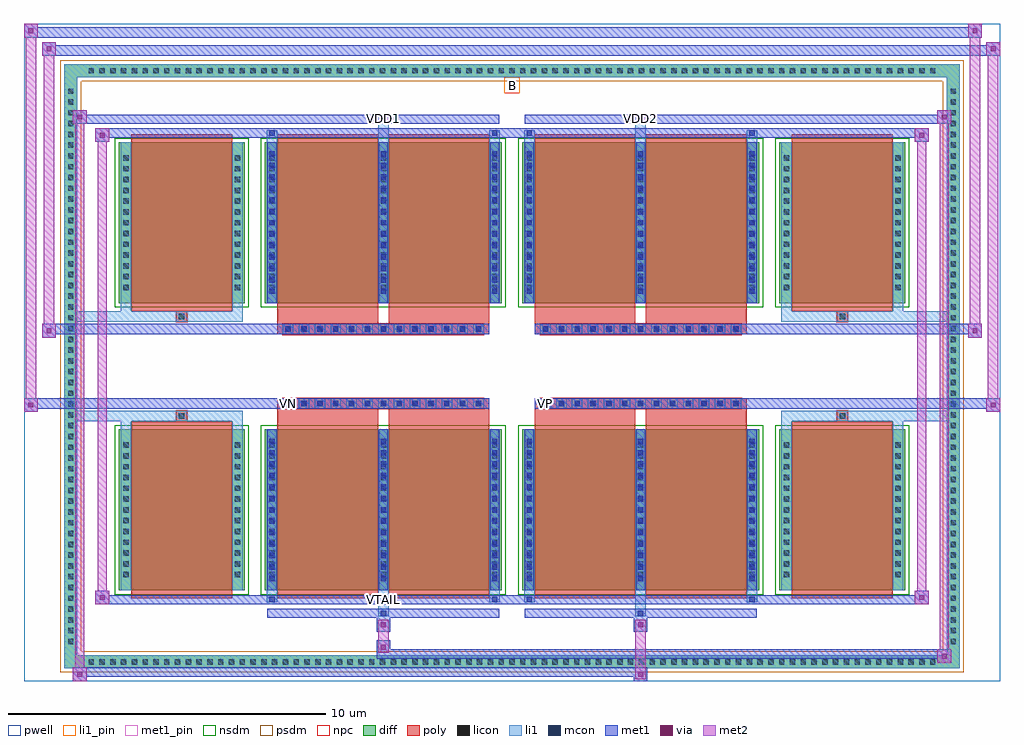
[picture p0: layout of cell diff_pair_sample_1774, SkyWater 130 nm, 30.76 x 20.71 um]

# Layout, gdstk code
import gdstk
lib = gdstk.Library(unit=1e-6, precision=5e-09)
def R(c, l, rs):  # rectangles x0, y0, x1, y1
    for r in rs: c.add(gdstk.rectangle(r[:2], r[2:], *l))
def A(c, l, x, y, w, h, nx, ny, dx, dy):  # array of equal rectangles
    R(c, l, [(x+i*dx, y+j*dy, x+i*dx+w, y+j*dy+h) for i in range(nx) for j in range(ny)])
def P(c, l, *ps):  # polygons
    for p in ps: c.add(gdstk.Polygon(p, *l))
pwell = (64, 44)
diff = (65, 20)
poly = (66, 20)
licon = (66, 44)
li1_pin = (67, 16)
li1 = (67, 20)
mcon = (67, 44)
met1_pin = (68, 16)
met1 = (68, 20)
via = (68, 44)
met2 = (69, 20)
nsdm = (93, 44)
psdm = (94, 20)
npc = (95, 20)

diff_pair_sample_1774 = lib.new_cell('diff_pair_sample_1774')
R(diff_pair_sample_1774, pwell, [(-15.38,-9.92,15.38,10.79), (-12.7,-8.11,-0.01,-0.805), (0.01,-8.11,12.7,-0.805), (-12.7,0.805,-0.01,8.11), (0.01,0.805,12.7,8.11)])
A(diff_pair_sample_1774, diff, -13.465, -9.52, 0.41, 0.41, 79, 2, 0.34, 18.63)
A(diff_pair_sample_1774, diff, -14.11, -8.875, 0.41, 0.41, 1, 52, 0, 0.34)
A(diff_pair_sample_1774, diff, 13.7, -8.875, 0.41, 0.41, 1, 52, 0, 0.34)
R(diff_pair_sample_1774, diff, [(-13.465,-9.52,13.465,-9.11), (-14.11,-8.875,-13.7,8.875), (13.7,-8.875,14.11,8.875), (-12.39,-7.065,-8.43,-1.985), (-7.79,-7.065,-0.32,-1.985), (0.32,-7.065,7.79,-1.985), (8.43,-7.065,12.39,-1.985), (-12.39,1.985,-8.43,7.065), (-7.79,1.985,-0.32,7.065), (0.32,1.985,7.79,7.065), (8.43,1.985,12.39,7.065), (-13.465,9.11,13.465,9.52)])
P(diff_pair_sample_1774, diff, [(14.11,9.52),(-14.11,9.52),(-14.11,-9.11),(-13.7,-9.11),(-13.7,9.11),(13.7,9.11),(13.7,-9.11),(-13.7,-9.11),(-14.11,-9.11),(-14.11,-9.52),(14.11,-9.52)])
A(diff_pair_sample_1774, poly, -7.22, -1.335, 0.33, 0.33, 13, 2, 0.5, 2.34)
A(diff_pair_sample_1774, poly, 0.89, -1.335, 0.33, 0.33, 13, 2, 0.5, 2.34)
R(diff_pair_sample_1774, poly, [(-12,-7.315,-8.82,-1.735), (-7.4,-7.315,-4.22,-1.735), (-3.89,-7.315,-0.71,-1.735), (0.71,-7.315,3.89,-1.735), (4.22,-7.315,7.4,-1.735), (8.82,-7.315,12,-1.735), (-10.575,-1.735,-10.245,-1.405), (-10.575,-1.735,-10.245,-1.405), (-7.4,-1.735,-4.22,-1.335), (-3.89,-1.735,-0.71,-1.335), (0.71,-1.735,3.89,-1.335), (4.22,-1.735,7.4,-1.335), (10.245,-1.735,10.575,-1.405), (10.245,-1.735,10.575,-1.405), (-7.4,-1.335,-0.71,-1.005), (0.71,-1.335,7.4,-1.005), (-7.4,1.005,-0.71,1.335), (0.71,1.005,7.4,1.335), (-7.4,1.335,-4.22,1.735), (-3.89,1.335,-0.71,1.735), (0.71,1.335,3.89,1.735), (4.22,1.335,7.4,1.735), (-10.575,1.405,-10.245,1.735), (-10.575,1.405,-10.245,1.735), (10.245,1.405,10.575,1.735), (10.245,1.405,10.575,1.735), (-12,1.735,-8.82,7.315), (-7.4,1.735,-4.22,7.315), (-3.89,1.735,-0.71,7.315), (0.71,1.735,3.89,7.315), (4.22,1.735,7.4,7.315), (8.82,1.735,12,7.315)])
A(diff_pair_sample_1774, licon, -13.345, -9.4, 0.17, 0.17, 79, 2, 0.34, 18.63)
A(diff_pair_sample_1774, licon, -13.99, -8.755, 0.17, 0.17, 1, 52, 0, 0.34)
A(diff_pair_sample_1774, licon, 13.82, -8.755, 0.17, 0.17, 1, 52, 0, 0.34)
A(diff_pair_sample_1774, licon, -12.25, -6.65, 0.17, 0.17, 1, 13, 0, 0.34)
A(diff_pair_sample_1774, licon, -8.74, -6.65, 0.17, 0.17, 1, 13, 0, 0.34)
A(diff_pair_sample_1774, licon, -7.65, -6.65, 0.17, 0.17, 3, 13, 3.51, 0.34)
A(diff_pair_sample_1774, licon, 0.46, -6.65, 0.17, 0.17, 3, 13, 3.51, 0.34)
A(diff_pair_sample_1774, licon, 8.57, -6.65, 0.17, 0.17, 1, 13, 0, 0.34)
A(diff_pair_sample_1774, licon, 12.08, -6.65, 0.17, 0.17, 1, 13, 0, 0.34)
A(diff_pair_sample_1774, licon, -7.14, -1.255, 0.17, 0.17, 13, 2, 0.5, 2.34)
A(diff_pair_sample_1774, licon, 0.97, -1.255, 0.17, 0.17, 13, 2, 0.5, 2.34)
A(diff_pair_sample_1774, licon, -12.25, 2.4, 0.17, 0.17, 1, 13, 0, 0.34)
A(diff_pair_sample_1774, licon, -8.74, 2.4, 0.17, 0.17, 1, 13, 0, 0.34)
A(diff_pair_sample_1774, licon, -7.65, 2.4, 0.17, 0.17, 3, 13, 3.51, 0.34)
A(diff_pair_sample_1774, licon, 0.46, 2.4, 0.17, 0.17, 3, 13, 3.51, 0.34)
A(diff_pair_sample_1774, licon, 8.57, 2.4, 0.17, 0.17, 1, 13, 0, 0.34)
A(diff_pair_sample_1774, licon, 12.08, 2.4, 0.17, 0.17, 1, 13, 0, 0.34)
R(diff_pair_sample_1774, licon, [(-10.495,-1.655,-10.325,-1.485), (10.325,-1.655,10.495,-1.485), (-10.495,1.485,-10.325,1.655), (10.325,1.485,10.495,1.655)])
R(diff_pair_sample_1774, li1_pin, [(-0.25,8.61,0.25,9.11)])
A(diff_pair_sample_1774, li1, -13.425, -9.48, 0.33, 0.33, 79, 2, 0.34, 18.63)
A(diff_pair_sample_1774, li1, -14.07, -8.835, 0.33, 0.33, 1, 52, 0, 0.34)
A(diff_pair_sample_1774, li1, 13.74, -8.835, 0.33, 0.33, 1, 52, 0, 0.34)
A(diff_pair_sample_1774, li1, -7.73, -7.065, 0.33, 5.08, 3, 2, 3.51, 9.05)
A(diff_pair_sample_1774, li1, 0.38, -7.065, 0.33, 5.08, 3, 2, 3.51, 9.05)
A(diff_pair_sample_1774, li1, -7.65, -6.77, 0.17, 0.17, 3, 13, 3.51, 0.36)
A(diff_pair_sample_1774, li1, -7.65, -6.77, 0.17, 4.49, 3, 2, 3.51, 9.05)
A(diff_pair_sample_1774, li1, 0.46, -6.77, 0.17, 0.17, 3, 13, 3.51, 0.36)
A(diff_pair_sample_1774, li1, 0.46, -6.77, 0.17, 4.49, 3, 2, 3.51, 9.05)
A(diff_pair_sample_1774, li1, -12.33, -6.73, 0.33, 0.33, 1, 13, 0, 0.34)
A(diff_pair_sample_1774, li1, -8.82, -6.73, 0.33, 0.33, 1, 13, 0, 0.34)
A(diff_pair_sample_1774, li1, -7.73, -6.73, 0.33, 0.33, 3, 13, 3.51, 0.34)
A(diff_pair_sample_1774, li1, 0.38, -6.73, 0.33, 0.33, 3, 13, 3.51, 0.34)
A(diff_pair_sample_1774, li1, 8.49, -6.73, 0.33, 0.33, 1, 13, 0, 0.34)
A(diff_pair_sample_1774, li1, 12, -6.73, 0.33, 0.33, 1, 13, 0, 0.34)
A(diff_pair_sample_1774, li1, -7.22, -1.335, 0.33, 0.33, 13, 2, 0.5, 2.34)
A(diff_pair_sample_1774, li1, 0.89, -1.335, 0.33, 0.33, 13, 2, 0.5, 2.34)
A(diff_pair_sample_1774, li1, -7.65, 2.28, 0.17, 0.17, 3, 13, 3.51, 0.36)
A(diff_pair_sample_1774, li1, 0.46, 2.28, 0.17, 0.17, 3, 13, 3.51, 0.36)
A(diff_pair_sample_1774, li1, -12.33, 2.32, 0.33, 0.33, 1, 13, 0, 0.34)
A(diff_pair_sample_1774, li1, -8.82, 2.32, 0.33, 0.33, 1, 13, 0, 0.34)
A(diff_pair_sample_1774, li1, -7.73, 2.32, 0.33, 0.33, 3, 13, 3.51, 0.34)
A(diff_pair_sample_1774, li1, 0.38, 2.32, 0.33, 0.33, 3, 13, 3.51, 0.34)
A(diff_pair_sample_1774, li1, 8.49, 2.32, 0.33, 0.33, 1, 13, 0, 0.34)
A(diff_pair_sample_1774, li1, 12, 2.32, 0.33, 0.33, 1, 13, 0, 0.34)
R(diff_pair_sample_1774, li1, [(-14.11,-9.52,-13.7,-9.11), (-14.11,-9.52,-13.7,-9.11), (-13.7,-9.52,13.7,-9.11), (13.7,-9.52,14.11,-9.11), (13.7,-9.52,14.11,-9.11), (-14.11,-9.11,-13.7,9.11), (13.7,-9.11,14.11,9.11), (-4.22,-7.87,-3.89,-7.065), (-4.14,-7.87,-3.97,-7.7), (3.89,-7.87,4.22,-7.065), (3.97,-7.87,4.14,-7.7), (-7.73,-7.44,-7.4,-7.065), (-7.65,-7.44,-7.48,-7.27), (-0.71,-7.44,-0.38,-7.065), (-0.63,-7.44,-0.46,-7.27), (0.38,-7.44,0.71,-7.065), (0.46,-7.44,0.63,-7.27), (7.4,-7.44,7.73,-7.065), (7.48,-7.44,7.65,-7.27), (-12.33,-7.065,-12,-1.985), (-8.82,-7.065,-8.49,-1.985), (8.49,-7.065,8.82,-1.985), (12,-7.065,12.33,-1.985), (-12.33,-1.985,-12,-1.405), (-8.82,-1.985,-8.49,-1.405), (8.49,-1.985,8.82,-1.405), (12,-1.985,12.33,-1.405), (-14.11,-1.735,-10.575,-1.405), (-12.33,-1.735,-10.575,-1.405), (-10.575,-1.735,-10.245,-1.405), (-10.245,-1.735,-8.49,-1.405), (8.49,-1.735,10.245,-1.405), (10.245,-1.735,10.575,-1.405), (10.245,-1.735,14.11,-1.405), (10.575,-1.735,12.33,-1.405), (-14.11,1.405,-10.575,1.735), (-12.33,1.405,-10.575,1.735), (-12.33,1.405,-12,1.985), (-10.575,1.405,-10.245,1.735), (-10.245,1.405,-8.49,1.735), (-8.82,1.405,-8.49,1.985), (8.49,1.405,10.245,1.735), (8.49,1.405,8.82,1.985), (10.245,1.405,10.575,1.735), (10.245,1.405,14.11,1.735), (10.575,1.405,12.33,1.735), (12,1.405,12.33,1.985), (-12.33,1.985,-12,7.065), (-8.82,1.985,-8.49,7.065), (8.49,1.985,8.82,7.065), (12,1.985,12.33,7.065), (-7.73,7.065,-7.4,7.44), (-4.22,7.065,-3.89,7.87), (-0.71,7.065,-0.38,7.44), (0.38,7.065,0.71,7.44), (3.89,7.065,4.22,7.87), (7.4,7.065,7.73,7.44), (-7.65,7.27,-7.48,7.44), (-0.63,7.27,-0.46,7.44), (0.46,7.27,0.63,7.44), (7.48,7.27,7.65,7.44), (-4.14,7.7,-3.97,7.87), (3.97,7.7,4.14,7.87), (-14.11,9.11,-13.7,9.52), (-14.11,9.11,-13.7,9.52), (-13.7,9.11,13.7,9.52), (13.7,9.11,14.11,9.52), (13.7,9.11,14.11,9.52)])
A(diff_pair_sample_1774, mcon, -7.65, -6.77, 0.17, 0.17, 3, 13, 3.51, 0.36)
A(diff_pair_sample_1774, mcon, 0.46, -6.77, 0.17, 0.17, 3, 13, 3.51, 0.36)
A(diff_pair_sample_1774, mcon, -7.14, -1.255, 0.17, 0.17, 13, 2, 0.5, 2.34)
A(diff_pair_sample_1774, mcon, 0.97, -1.255, 0.17, 0.17, 13, 2, 0.5, 2.34)
A(diff_pair_sample_1774, mcon, -7.65, 2.28, 0.17, 0.17, 3, 13, 3.51, 0.36)
A(diff_pair_sample_1774, mcon, 0.46, 2.28, 0.17, 0.17, 3, 13, 3.51, 0.36)
R(diff_pair_sample_1774, mcon, [(-4.14,-7.87,-3.97,-7.7), (3.97,-7.87,4.14,-7.7), (-7.65,-7.44,-7.48,-7.27), (-0.63,-7.44,-0.46,-7.27), (0.46,-7.44,0.63,-7.27), (7.48,-7.44,7.65,-7.27), (-7.65,7.27,-7.48,7.44), (-0.63,7.27,-0.46,7.44), (0.46,7.27,0.63,7.44), (7.48,7.27,7.65,7.44), (-4.14,7.7,-3.97,7.87), (3.97,7.7,4.14,7.87)])
R(diff_pair_sample_1774, met1_pin, [(-4.19,-7.48,-3.92,-7.21), (-7.19,-1.295,-6.92,-1.025), (0.92,-1.295,1.19,-1.025), (-4.19,7.66,-3.92,7.93), (3.92,7.66,4.19,7.93)])
A(diff_pair_sample_1774, met1, -7.71, -7.065, 0.29, 5.08, 3, 2, 3.51, 9.05)
A(diff_pair_sample_1774, met1, 0.4, -7.065, 0.29, 5.08, 3, 2, 3.51, 9.05)
A(diff_pair_sample_1774, met1, -7.71, -6.83, 0.29, 0.29, 3, 13, 3.51, 0.36)
A(diff_pair_sample_1774, met1, 0.4, -6.83, 0.29, 0.29, 3, 13, 3.51, 0.36)
A(diff_pair_sample_1774, met1, -7.2, -1.315, 0.29, 0.29, 13, 2, 0.5, 2.34)
A(diff_pair_sample_1774, met1, 0.91, -1.315, 0.29, 0.29, 13, 2, 0.5, 2.34)
A(diff_pair_sample_1774, met1, -7.71, 2.22, 0.29, 0.29, 3, 13, 3.51, 0.36)
A(diff_pair_sample_1774, met1, 0.4, 2.22, 0.29, 0.29, 3, 13, 3.51, 0.36)
R(diff_pair_sample_1774, met1, [(-13.84,-9.92,-13.41,-9.49), (3.84,-9.92,4.27,-9.49), (-13.84,-9.78,4.27,-9.49), (13.41,-9.35,13.84,-8.92), (-4.27,-9.21,13.84,-8.92), (-4.27,-9.07,-3.84,-8.64), (-4.27,-8.36,-3.84,-7.93), (3.84,-8.36,4.27,-7.93), (-7.71,-7.93,-0.4,-7.64), (-4.2,-7.93,-3.91,-7.64), (0.4,-7.93,7.71,-7.64), (3.91,-7.93,4.2,-7.64), (-13.13,-7.5,-12.7,-7.07), (-13.13,-7.5,-7.71,-7.21), (-7.71,-7.5,-7.42,-7.21), (-7.71,-7.5,-0.4,-7.21), (-0.69,-7.5,-0.4,-7.21), (-0.4,-7.5,0.4,-7.21), (0.4,-7.5,0.69,-7.21), (0.4,-7.5,7.71,-7.21), (7.42,-7.5,7.71,-7.21), (7.71,-7.5,13.13,-7.21), (12.7,-7.5,13.13,-7.07), (-15.38,-1.435,-14.95,-1.005), (14.95,-1.435,15.38,-1.005), (-15.38,-1.335,-0.71,-1.005), (-7.4,-1.335,-0.71,-1.005), (0.71,-1.335,7.4,-1.005), (0.71,-1.335,15.38,-1.005), (-14.81,0.905,-14.38,1.335), (14.38,0.905,14.81,1.335), (-14.81,1.005,-7.4,1.335), (-7.4,1.005,-0.71,1.335), (0.71,1.005,7.4,1.335), (7.4,1.005,14.81,1.335), (-13.13,7.07,-12.7,7.5), (12.7,7.07,13.13,7.5), (-13.13,7.21,-7.71,7.5), (-7.71,7.21,-7.42,7.5), (-7.71,7.21,-0.4,7.5), (-0.69,7.21,-0.4,7.5), (-0.4,7.21,0.4,7.5), (0.4,7.21,0.69,7.5), (0.4,7.21,7.71,7.5), (7.42,7.21,7.71,7.5), (7.71,7.21,13.13,7.5), (-13.84,7.64,-13.41,8.07), (-13.84,7.64,-7.71,7.93), (-7.71,7.64,-0.4,7.93), (-4.2,7.64,-3.91,7.93), (0.4,7.64,7.71,7.93), (3.91,7.64,4.2,7.93), (7.71,7.64,13.84,7.93), (13.41,7.64,13.84,8.07), (-14.81,9.79,-14.38,10.22), (-14.81,9.79,-12.7,10.12), (-12.7,9.79,12.7,10.12), (12.7,9.79,15.38,10.12), (14.95,9.79,15.38,10.22), (-15.38,10.36,-14.95,10.79), (-15.38,10.36,-12.7,10.69), (-12.7,10.36,12.7,10.69), (12.7,10.36,14.81,10.69), (14.38,10.36,14.81,10.79)])
R(diff_pair_sample_1774, via, [(-13.7,-9.78,-13.55,-9.63), (3.98,-9.78,4.13,-9.63), (13.55,-9.21,13.7,-9.06), (-4.13,-8.93,-3.98,-8.78), (-4.13,-8.22,-3.98,-8.07), (3.98,-8.22,4.13,-8.07), (-12.99,-7.36,-12.84,-7.21), (12.84,-7.36,12.99,-7.21), (-15.24,-1.295,-15.09,-1.145), (15.09,-1.295,15.24,-1.145), (-14.67,1.045,-14.52,1.195), (14.52,1.045,14.67,1.195), (-12.99,7.21,-12.84,7.36), (12.84,7.21,12.99,7.36), (-13.7,7.78,-13.55,7.93), (13.55,7.78,13.7,7.93), (-14.67,9.93,-14.52,10.08), (15.09,9.93,15.24,10.08), (-15.24,10.5,-15.09,10.65), (14.52,10.5,14.67,10.65)])
R(diff_pair_sample_1774, met2, [(-13.84,-9.92,-13.41,-9.49), (-13.77,-9.92,-13.48,8.07), (-13.48,-9.92,-13.41,-9.49), (-13.79,-9.87,-13.46,-9.54), (3.89,-9.87,4.22,-9.54), (3.89,-9.54,4.22,-8.31), (13.41,-9.35,13.84,-8.92), (13.48,-9.35,13.77,8.07), (13.77,-9.35,13.84,-8.92), (13.46,-9.3,13.79,-8.97), (-4.22,-9.02,-3.89,-8.69), (-4.22,-8.69,-3.89,-8.31), (-4.22,-8.31,-3.89,-7.98), (3.89,-8.31,4.22,-7.98), (-13.13,-7.5,-12.7,-7.07), (-13.06,-7.5,-12.77,7.5), (-12.77,-7.5,-12.7,-7.07), (12.7,-7.5,13.13,-7.07), (12.77,-7.5,13.06,7.5), (13.06,-7.5,13.13,-7.07), (-13.08,-7.45,-12.75,-7.12), (12.75,-7.45,13.08,-7.12), (-15.38,-1.435,-14.95,-1.005), (-15.33,-1.435,-15,10.79), (-15,-1.435,-14.95,-1.005), (14.95,-1.435,15.38,-1.005), (15,-1.435,15.33,10.22), (15.33,-1.435,15.38,-1.005), (-15.33,-1.385,-15,-1.055), (15,-1.385,15.33,-1.055), (-14.81,0.905,-14.38,1.335), (-14.76,0.905,-14.43,10.22), (-14.43,0.905,-14.38,1.335), (14.38,0.905,14.81,1.335), (14.43,0.905,14.76,10.79), (14.76,0.905,14.81,1.335), (-14.76,0.955,-14.43,1.285), (14.43,0.955,14.76,1.285), (-13.13,7.07,-12.7,7.5), (-12.77,7.07,-12.7,7.5), (12.7,7.07,13.13,7.5), (13.06,7.07,13.13,7.5), (-13.08,7.12,-12.75,7.45), (12.75,7.12,13.08,7.45), (-13.84,7.64,-13.41,8.07), (-13.48,7.64,-13.41,8.07), (13.41,7.64,13.84,8.07), (13.77,7.64,13.84,8.07), (-13.79,7.69,-13.46,8.02), (13.46,7.69,13.79,8.02), (-14.81,9.79,-14.38,10.22), (-14.43,9.79,-14.38,10.22), (14.95,9.79,15.38,10.22), (15.33,9.79,15.38,10.22), (-14.76,9.84,-14.43,10.17), (15,9.84,15.33,10.17), (-15.38,10.36,-14.95,10.79), (-15,10.36,-14.95,10.79), (14.38,10.36,14.81,10.79), (14.76,10.36,14.81,10.79), (-15.33,10.41,-15,10.74), (14.43,10.41,14.76,10.74)])
R(diff_pair_sample_1774, nsdm, [(-12.52,-7.195,-8.3,-1.855), (-7.92,-7.195,-0.19,-1.855), (0.19,-7.195,7.92,-1.855), (8.3,-7.195,12.52,-1.855), (-12.52,1.855,-8.3,7.195), (-7.92,1.855,-0.19,7.195), (0.19,1.855,7.92,7.195), (8.3,1.855,12.52,7.195)])
P(diff_pair_sample_1774, psdm, [(14.24,9.65),(-14.24,9.65),(-14.24,-8.98),(-13.57,-8.98),(-13.57,8.98),(13.57,8.98),(13.57,-8.98),(-13.57,-8.98),(-14.24,-8.98),(-14.24,-9.65),(14.24,-9.65)])
A(diff_pair_sample_1774, npc, -7.24, -1.355, 0.37, 0.37, 13, 2, 0.5, 2.34)
A(diff_pair_sample_1774, npc, 0.87, -1.355, 0.37, 0.37, 13, 2, 0.5, 2.34)
R(diff_pair_sample_1774, npc, [(-10.595,-1.755,-10.225,-1.385), (10.225,-1.755,10.595,-1.385), (-7.24,-1.355,-6.37,-0.985), (-7.24,-1.355,-6.37,-0.985), (-6.74,-1.355,-5.87,-0.985), (-6.74,-1.355,-5.87,-0.985), (-6.24,-1.355,-5.37,-0.985), (-6.24,-1.355,-5.37,-0.985), (-5.74,-1.355,-4.87,-0.985), (-5.74,-1.355,-4.87,-0.985), (-5.24,-1.355,-4.37,-0.985), (-5.24,-1.355,-4.37,-0.985), (-4.74,-1.355,-3.87,-0.985), (-4.74,-1.355,-3.87,-0.985), (-4.24,-1.355,-3.37,-0.985), (-4.24,-1.355,-3.37,-0.985), (-3.74,-1.355,-2.87,-0.985), (-3.74,-1.355,-2.87,-0.985), (-3.24,-1.355,-2.37,-0.985), (-3.24,-1.355,-2.37,-0.985), (-2.74,-1.355,-1.87,-0.985), (-2.74,-1.355,-1.87,-0.985), (-2.24,-1.355,-1.37,-0.985), (-2.24,-1.355,-1.37,-0.985), (-1.74,-1.355,-0.87,-0.985), (-1.74,-1.355,-0.87,-0.985), (0.87,-1.355,1.74,-0.985), (0.87,-1.355,1.74,-0.985), (1.37,-1.355,2.24,-0.985), (1.37,-1.355,2.24,-0.985), (1.87,-1.355,2.74,-0.985), (1.87,-1.355,2.74,-0.985), (2.37,-1.355,3.24,-0.985), (2.37,-1.355,3.24,-0.985), (2.87,-1.355,3.74,-0.985), (2.87,-1.355,3.74,-0.985), (3.37,-1.355,4.24,-0.985), (3.37,-1.355,4.24,-0.985), (3.87,-1.355,4.74,-0.985), (3.87,-1.355,4.74,-0.985), (4.37,-1.355,5.24,-0.985), (4.37,-1.355,5.24,-0.985), (4.87,-1.355,5.74,-0.985), (4.87,-1.355,5.74,-0.985), (5.37,-1.355,6.24,-0.985), (5.37,-1.355,6.24,-0.985), (5.87,-1.355,6.74,-0.985), (5.87,-1.355,6.74,-0.985), (6.37,-1.355,7.24,-0.985), (6.37,-1.355,7.24,-0.985), (-7.24,0.985,-6.37,1.355), (-7.24,0.985,-6.37,1.355), (-6.74,0.985,-5.87,1.355), (-6.74,0.985,-5.87,1.355), (-6.24,0.985,-5.37,1.355), (-6.24,0.985,-5.37,1.355), (-5.74,0.985,-4.87,1.355), (-5.74,0.985,-4.87,1.355), (-5.24,0.985,-4.37,1.355), (-5.24,0.985,-4.37,1.355), (-4.74,0.985,-3.87,1.355), (-4.74,0.985,-3.87,1.355), (-4.24,0.985,-3.37,1.355), (-4.24,0.985,-3.37,1.355), (-3.74,0.985,-2.87,1.355), (-3.74,0.985,-2.87,1.355), (-3.24,0.985,-2.37,1.355), (-3.24,0.985,-2.37,1.355), (-2.74,0.985,-1.87,1.355), (-2.74,0.985,-1.87,1.355), (-2.24,0.985,-1.37,1.355), (-2.24,0.985,-1.37,1.355), (-1.74,0.985,-0.87,1.355), (-1.74,0.985,-0.87,1.355), (0.87,0.985,1.74,1.355), (0.87,0.985,1.74,1.355), (1.37,0.985,2.24,1.355), (1.37,0.985,2.24,1.355), (1.87,0.985,2.74,1.355), (1.87,0.985,2.74,1.355), (2.37,0.985,3.24,1.355), (2.37,0.985,3.24,1.355), (2.87,0.985,3.74,1.355), (2.87,0.985,3.74,1.355), (3.37,0.985,4.24,1.355), (3.37,0.985,4.24,1.355), (3.87,0.985,4.74,1.355), (3.87,0.985,4.74,1.355), (4.37,0.985,5.24,1.355), (4.37,0.985,5.24,1.355), (4.87,0.985,5.74,1.355), (4.87,0.985,5.74,1.355), (5.37,0.985,6.24,1.355), (5.37,0.985,6.24,1.355), (5.87,0.985,6.74,1.355), (5.87,0.985,6.74,1.355), (6.37,0.985,7.24,1.355), (6.37,0.985,7.24,1.355), (-10.595,1.385,-10.225,1.755), (10.225,1.385,10.595,1.755)])
diff_pair_sample_1774.add(gdstk.Label('VTAIL', (-4.055,-7.345), layer=68, texttype=5))
diff_pair_sample_1774.add(gdstk.Label('VN', (-7.055,-1.16), layer=68, texttype=5))
diff_pair_sample_1774.add(gdstk.Label('VP', (1.055,-1.16), layer=68, texttype=5))
diff_pair_sample_1774.add(gdstk.Label('B', (0,8.86), layer=67, texttype=5))
diff_pair_sample_1774.add(gdstk.Label('VDD2', (4.055,7.795), layer=68, texttype=5))
diff_pair_sample_1774.add(gdstk.Label('VDD1', (-4.055,7.795), layer=68, texttype=5))

lib.write_gds('diff_pair_sample_1774.gds')
